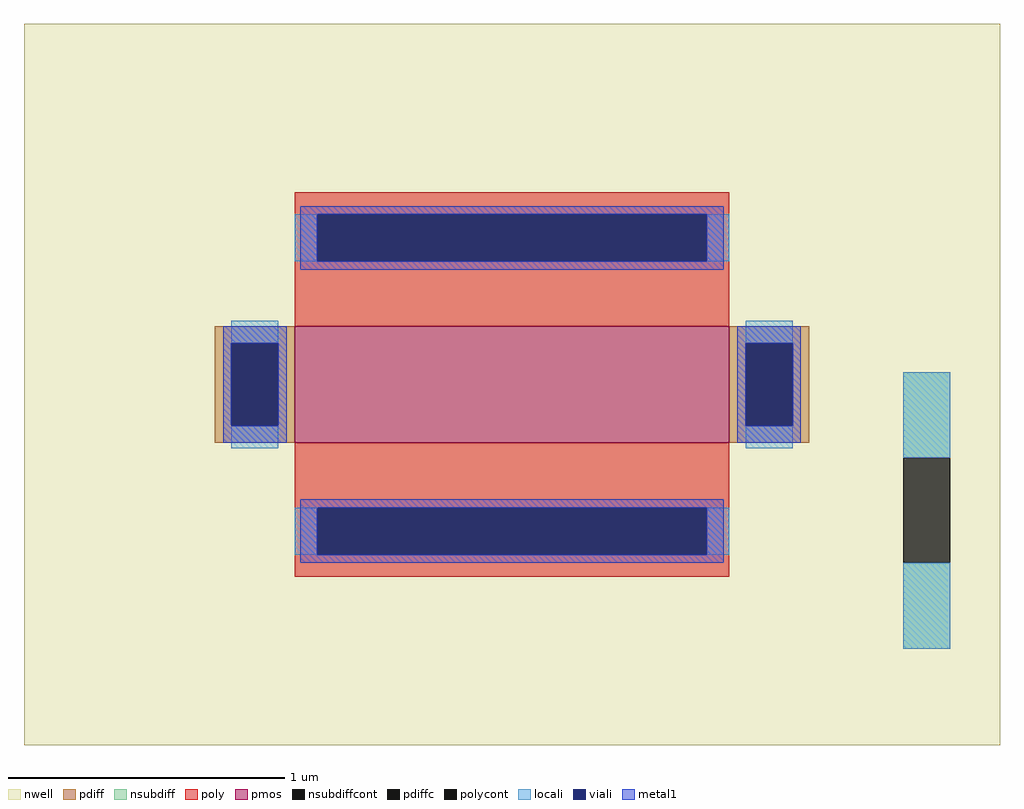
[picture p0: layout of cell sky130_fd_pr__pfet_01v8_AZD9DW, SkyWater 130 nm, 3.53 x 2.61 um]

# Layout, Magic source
magic
tech sky130A
magscale 1 2
<< nwell >>
rect -353 -261 353 261
<< pmos >>
rect -157 -42 157 42
<< pdiff >>
rect -215 30 -157 42
rect -215 -30 -203 30
rect -169 -30 -157 30
rect -215 -42 -157 -30
rect 157 30 215 42
rect 157 -30 169 30
rect 203 -30 215 30
rect 157 -42 215 -30
<< pdiffc >>
rect -203 -30 -169 30
rect 169 -30 203 30
<< nsubdiff >>
rect 283 -53 317 9
rect 283 -191 317 -129
<< nsubdiffcont >>
rect 283 -129 317 -53
<< poly >>
rect -157 123 157 139
rect -157 89 -141 123
rect 141 89 157 123
rect -157 42 157 89
rect -157 -89 157 -42
rect -157 -123 -141 -89
rect 141 -123 157 -89
rect -157 -139 157 -123
<< polycont >>
rect -141 89 141 123
rect -141 -123 141 -89
<< locali >>
rect -157 89 -141 123
rect 141 89 157 123
rect -203 30 -169 46
rect -203 -46 -169 -30
rect 169 30 203 46
rect 169 -46 203 -30
rect 283 -53 317 9
rect -157 -123 -141 -89
rect 141 -123 157 -89
rect 283 -191 317 -129
<< viali >>
rect -141 89 141 123
rect -203 -30 -169 30
rect 169 -30 203 30
rect -141 -123 141 -89
<< metal1 >>
rect -153 123 153 129
rect -153 89 -141 123
rect 141 89 153 123
rect -153 83 153 89
rect -209 30 -163 42
rect -209 -30 -203 30
rect -169 -30 -163 30
rect -209 -42 -163 -30
rect 163 30 209 42
rect 163 -30 169 30
rect 203 -30 209 30
rect 163 -42 209 -30
rect -153 -89 153 -83
rect -153 -123 -141 -89
rect 141 -123 153 -89
rect -153 -129 153 -123
<< properties >>
string FIXED_BBOX -300 -208 300 208
string gencell sky130_fd_pr__pfet_01v8
string library sky130
string parameters w 0.42 l 1.57 m 1 nf 1 diffcov 100 polycov 100 guard 1 glc 1 grc 1 gtc 1 gbc 1 tbcov 100 rlcov 100 topc 1 botc 1 poverlap 0 doverlap 1 lmin 0.15 wmin 0.42 compatible {sky130_fd_pr__pfet_01v8  sky130_fd_pr__pfet_01v8_lvt sky130_fd_pr__pfet_01v8_hvt  sky130_fd_pr__pfet_g5v0d10v5} full_metal 1 viasrc 100 viadrn 100 viagate 100 viagb 0 viagr 0 viagl 0 viagt 0
<< end >>
